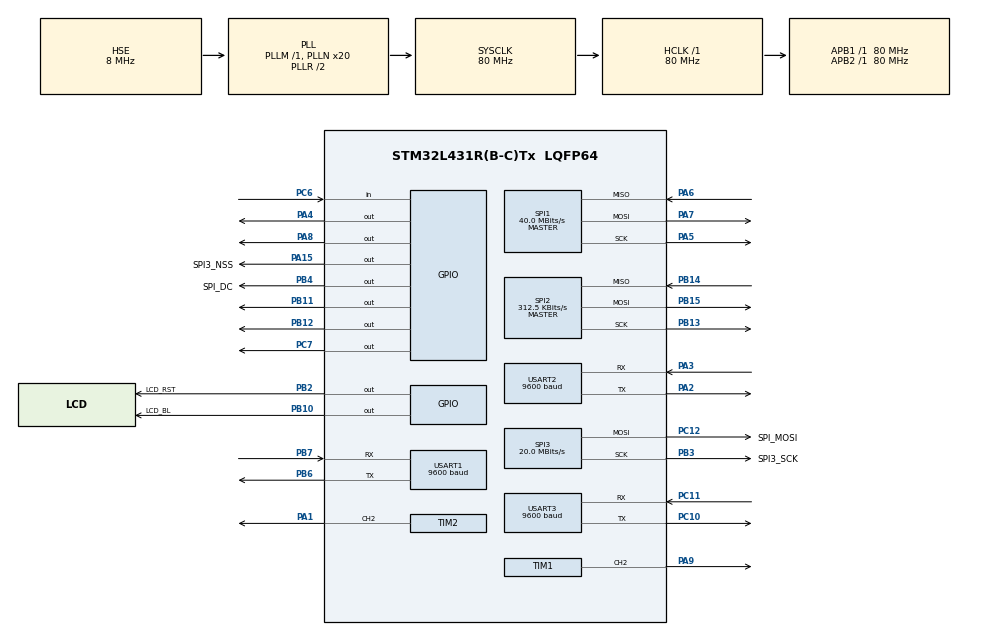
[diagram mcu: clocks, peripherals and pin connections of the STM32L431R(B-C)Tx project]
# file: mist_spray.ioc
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Dma.Request0=TIM1_CH2
Dma.TIM1_CH2.0.Direction=DMA_MEMORY_TO_PERIPH
Dma.TIM1_CH2.0.Instance=DMA1_Channel3
Dma.TIM1_CH2.0.MemDataAlignment=DMA_MDATAALIGN_HALFWORD
Dma.TIM1_CH2.0.MemInc=DMA_MINC_ENABLE
Dma.TIM1_CH2.0.Mode=DMA_NORMAL
Dma.TIM1_CH2.0.PeriphDataAlignment=DMA_PDATAALIGN_HALFWORD
Dma.TIM1_CH2.0.PeriphInc=DMA_PINC_DISABLE
Dma.TIM1_CH2.0.Priority=DMA_PRIORITY_LOW
FREERTOS.Tasks01=startTask,-2,256,StartDefaultTask,Default,NULL,Dynamic,NULL,NULL
FREERTOS.configTOTAL_HEAP_SIZE=24*1024
IWDG.Prescaler=IWDG_PRESCALER_32
IWDG.Reload=3000
IWDG.Window=3000
Mcu.Family=STM32L4
Mcu.Name=STM32L431R(B-C)Tx
Mcu.Package=LQFP64
NVIC.DMA1_Channel3_IRQn=true\:5\:0\:false\:false\:true\:true\:false\:true\:true
NVIC.PriorityGroup=NVIC_PRIORITYGROUP_4
NVIC.TIM1_TRG_COM_IRQn=true\:5\:0\:false\:false\:true\:true\:true\:true\:true
NVIC.TIM2_IRQn=true\:5\:0\:false\:false\:true\:true\:true\:true\:true
NVIC.TIM6_DAC_IRQn=true\:8\:0\:true\:false\:true\:true\:true\:true\:true
NVIC.TIM7_IRQn=true\:15\:0\:false\:false\:true\:false\:false\:true\:true
NVIC.TimeBase=TIM7_IRQn
NVIC.TimeBaseIP=TIM7
NVIC.USART1_IRQn=true\:5\:0\:true\:false\:false\:true\:true\:true\:true
NVIC.USART2_IRQn=true\:6\:0\:true\:false\:false\:true\:true\:true\:true
NVIC.USART3_IRQn=true\:7\:0\:true\:false\:false\:true\:true\:true\:true
PA1.Signal=S_TIM2_CH2
PA13\ (JTMS-SWDIO).Mode=Serial_Wire
PA13\ (JTMS-SWDIO).Signal=SYS_JTMS-SWDIO
PA14\ (JTCK-SWCLK).Mode=Serial_Wire
PA14\ (JTCK-SWCLK).Signal=SYS_JTCK-SWCLK
PA15\ (JTDI).GPIO_Label=SPI3_NSS
PA15\ (JTDI).GPIO_Speed=GPIO_SPEED_FREQ_VERY_HIGH
PA15\ (JTDI).Signal=GPIO_Output
PA2.GPIO_Speed=GPIO_SPEED_FREQ_VERY_HIGH
PA2.Mode=Asynchronous
PA2.Signal=USART2_TX
PA3.GPIO_PuPd=GPIO_PULLUP
PA3.GPIO_Speed=GPIO_SPEED_FREQ_VERY_HIGH
PA3.Mode=Asynchronous
PA3.Signal=USART2_RX
PA4.PinState=GPIO_PIN_SET
PA4.Signal=GPIO_Output
PA5.Mode=Full_Duplex_Master
PA5.Signal=SPI1_SCK
PA6.Mode=Full_Duplex_Master
PA6.Signal=SPI1_MISO
PA7.Mode=Full_Duplex_Master
PA7.Signal=SPI1_MOSI
PA8.GPIO_PuPd=GPIO_NOPULL
PA8.GPIO_Speed=GPIO_SPEED_FREQ_HIGH
PA8.PinState=GPIO_PIN_RESET
PA8.Signal=GPIO_Output
PA9.Signal=S_TIM1_CH2
PB10.GPIO_Label=LCD_BL
PB10.GPIO_Speed=GPIO_SPEED_FREQ_VERY_HIGH
PB10.PinState=GPIO_PIN_RESET
PB10.Signal=GPIO_Output
PB11.GPIO_Speed=GPIO_SPEED_FREQ_LOW
PB11.PinState=GPIO_PIN_SET
PB11.Signal=GPIO_Output
PB12.GPIO_Speed=GPIO_SPEED_FREQ_LOW
PB12.PinState=GPIO_PIN_SET
PB12.Signal=GPIO_Output
PB13.GPIO_Speed=GPIO_SPEED_FREQ_VERY_HIGH
PB13.Mode=Full_Duplex_Master
PB13.Signal=SPI2_SCK
PB14.GPIO_Speed=GPIO_SPEED_FREQ_VERY_HIGH
PB14.Mode=Full_Duplex_Master
PB14.Signal=SPI2_MISO
PB15.GPIO_Speed=GPIO_SPEED_FREQ_VERY_HIGH
PB15.Mode=Full_Duplex_Master
PB15.Signal=SPI2_MOSI
PB2.GPIO_Label=LCD_RST
PB2.GPIO_Speed=GPIO_SPEED_FREQ_VERY_HIGH
PB2.PinState=GPIO_PIN_RESET
PB2.Signal=GPIO_Output
PB3\ (JTDO-TRACESWO).GPIO_Label=SPI3_SCK
PB3\ (JTDO-TRACESWO).GPIO_Speed=GPIO_SPEED_FREQ_VERY_HIGH
PB3\ (JTDO-TRACESWO).Mode=TX_Only_Simplex_Unidirect_Master
PB3\ (JTDO-TRACESWO).Signal=SPI3_SCK
PB4\ (NJTRST).GPIO_Label=SPI_DC
PB4\ (NJTRST).GPIO_Speed=GPIO_SPEED_FREQ_VERY_HIGH
PB4\ (NJTRST).PinState=GPIO_PIN_RESET
PB4\ (NJTRST).Signal=GPIO_Output
PB6.GPIO_ModeDefaultPP=GPIO_MODE_AF_PP
PB6.GPIO_Speed=GPIO_SPEED_FREQ_VERY_HIGH
PB6.Mode=Asynchronous
PB6.Signal=USART1_TX
PB7.GPIO_PuPd=GPIO_PULLUP
PB7.GPIO_Speed=GPIO_SPEED_FREQ_VERY_HIGH
PB7.Mode=Asynchronous
PB7.Signal=USART1_RX
PC10.GPIO_Speed=GPIO_SPEED_FREQ_VERY_HIGH
PC10.Mode=Asynchronous
PC10.Signal=USART3_TX
PC11.GPIO_PuPd=GPIO_PULLUP
PC11.GPIO_Speed=GPIO_SPEED_FREQ_VERY_HIGH
PC11.Mode=Asynchronous
PC11.Signal=USART3_RX
PC12.GPIO_Label=SPI_MOSI
PC12.GPIO_Speed=GPIO_SPEED_FREQ_VERY_HIGH
PC12.Mode=TX_Only_Simplex_Unidirect_Master
PC12.Signal=SPI3_MOSI
PC14-OSC32_IN\ (PC14).Mode=LSE-External-Oscillator
PC14-OSC32_IN\ (PC14).Signal=RCC_OSC32_IN
PC15-OSC32_OUT\ (PC15).Mode=LSE-External-Oscillator
PC15-OSC32_OUT\ (PC15).Signal=RCC_OSC32_OUT
PC6.Signal=GPIO_Input
PC7.Signal=GPIO_Output
PH0-OSC_IN\ (PH0).Mode=HSE-External-Oscillator
PH0-OSC_IN\ (PH0).Signal=RCC_OSC_IN
PH1-OSC_OUT\ (PH1).Mode=HSE-External-Oscillator
PH1-OSC_OUT\ (PH1).Signal=RCC_OSC_OUT
ProjectManager.HeapSize=0x0d00
ProjectManager.StackSize=0x0e00
ProjectManager.TargetToolchain=MDK-ARM V5.32
RCC.ADCFreq_Value=32000000
RCC.AHBFreq_Value=80000000
RCC.APB1Freq_Value=80000000
RCC.APB1TimFreq_Value=80000000
RCC.APB2Freq_Value=80000000
RCC.APB2TimFreq_Value=80000000
RCC.CortexFreq_Value=80000000
RCC.HCLKFreq_Value=80000000
RCC.HSI48_VALUE=48000000
RCC.HSI_VALUE=16000000
RCC.MSI_VALUE=4000000
RCC.PLLN=20
RCC.PLLSourceVirtual=RCC_PLLSOURCE_HSE
RCC.RTCClockSelection=RCC_RTCCLKSOURCE_LSE
RCC.SYSCLKFreq_VALUE=80000000
RCC.SYSCLKSource=RCC_SYSCLKSOURCE_PLLCLK
RCC.VCOOutputFreq_Value=160000000
RTC.Date=8
RTC.Hours=8
RTC.Minutes=8
RTC.Month=RTC_MONTH_DECEMBER
RTC.WeekDay=RTC_WEEKDAY_THURSDAY
RTC.Year=22
SH.S_TIM1_CH2.0=TIM1_CH2,PWM Generation2 CH2
SH.S_TIM2_CH2.0=TIM2_CH2,PWM Generation2 CH2
SPI1.CalculateBaudRate=40.0 MBits/s
SPI1.DataSize=SPI_DATASIZE_8BIT
SPI1.Direction=SPI_DIRECTION_2LINES
SPI1.Mode=SPI_MODE_MASTER
SPI1.VirtualType=VM_MASTER
SPI2.BaudRatePrescaler=SPI_BAUDRATEPRESCALER_256
SPI2.CLKPhase=SPI_PHASE_1EDGE
SPI2.CalculateBaudRate=312.5 KBits/s
SPI2.DataSize=SPI_DATASIZE_8BIT
SPI2.Direction=SPI_DIRECTION_2LINES
SPI2.Mode=SPI_MODE_MASTER
SPI2.VirtualType=VM_MASTER
SPI3.BaudRatePrescaler=SPI_BAUDRATEPRESCALER_4
SPI3.CLKPhase=SPI_PHASE_2EDGE
SPI3.CLKPolarity=SPI_POLARITY_HIGH
SPI3.CalculateBaudRate=20.0 MBits/s
SPI3.DataSize=SPI_DATASIZE_8BIT
SPI3.Direction=SPI_DIRECTION_2LINES
SPI3.Mode=SPI_MODE_MASTER
SPI3.VirtualType=VM_MASTER
TIM1.AutoReloadPreload=TIM_AUTORELOAD_PRELOAD_DISABLE
TIM1.Channel-PWM\ Generation2\ CH2=TIM_CHANNEL_2
TIM1.Period=99
TIM1.Prescaler=0
TIM1.RepetitionCounter=0
TIM2.AutoReloadPreload=TIM_AUTORELOAD_PRELOAD_ENABLE
TIM2.Channel-PWM\ Generation2\ CH2=TIM_CHANNEL_2
TIM2.OCFastMode_PWM-PWM\ Generation2\ CH2=TIM_OCFAST_DISABLE
TIM2.Period=1000-1
TIM2.Prescaler=80-1
TIM2.Pulse-PWM\ Generation2\ CH2=600
TIM2.TIM_MasterSlaveMode=TIM_MASTERSLAVEMODE_DISABLE
TIM6.Period=10-1
TIM6.Prescaler=8000-1
USART1.BaudRate=9600
USART1.VirtualMode-Asynchronous=VM_ASYNC
USART2.BaudRate=9600
USART2.VirtualMode-Asynchronous=VM_ASYNC
USART3.BaudRate=9600
USART3.VirtualMode-Asynchronous=VM_ASYNC
VP_FREERTOS_VS_CMSIS_V1.Mode=CMSIS_V1
VP_IWDG_VS_IWDG.Mode=IWDG_Activate
VP_RTC_VS_RTC_Activate.Mode=RTC_Enabled
VP_RTC_VS_RTC_Calendar.Mode=RTC_Calendar
VP_SYS_VS_tim7.Mode=TIM7
VP_TIM1_VS_ClockSourceINT.Mode=Internal
VP_TIM2_VS_ClockSourceINT.Mode=Internal
VP_TIM6_VS_ClockSourceINT.Mode=Enable_Timer
board=custom

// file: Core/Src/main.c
/* USER CODE BEGIN Header */
/**
  ******************************************************************************
  * @file           : main.c
  * @brief          : Main program body
  ******************************************************************************
  * @attention
  *
  * Copyright (c) 2022 STMicroelectronics.
  * All rights reserved.
  *
  * This software is licensed under terms that can be found in the LICENSE file
  * in the root directory of this software component.
  * If no LICENSE file comes with this software, it is provided AS-IS.
  *
  ******************************************************************************
  */
/* USER CODE END Header */
#include "main.h"
#include "cmsis_os.h"
#include "dma.h"
#include "iwdg.h"
#include "rtc.h"
#include "spi.h"
#include "tim.h"
#include "usart.h"
#include "gpio.h"

/* USER CODE BEGIN Includes */
#include "rc522s.h"
#include "w25q64.h"
#include "BC260Y.h"
#include "lcd_init.h"
#include "lcd.h"
#include "lvgl.h"
#include "lv_conf.h"
#include "lv_port_disp.h"
#include "work.h"

/* USER CODE END Includes */

/* USER CODE BEGIN PTD */
RTC_DateTypeDef GetData;
RTC_TimeTypeDef GetTime;
/* USER CODE END PTD */

void SystemClock_Config(void);
void MX_FREERTOS_Init(void);

int main(void)
{

  /* MCU Configuration--------------------------------------------------------*/

  /* Reset of all peripherals, Initializes the Flash interface and the Systick. */
  HAL_Init();

  /* Configure the system clock */
  SystemClock_Config();

  /* Initialize all configured peripherals */
  MX_GPIO_Init();
  MX_DMA_Init();
  MX_RTC_Init();
  MX_TIM1_Init();
  MX_TIM2_Init();
  MX_TIM6_Init();
  MX_USART2_UART_Init();
  MX_USART3_UART_Init();
  MX_USART1_UART_Init();
  MX_SPI1_Init();
  MX_SPI2_Init();
  MX_SPI3_Init();
  MX_IWDG_Init();
  /* USER CODE BEGIN 2 */
	MFRC_Init();				//RC260初始化
	PCD_Reset();				//RC260复位
	BSP_W25Qx_Init();
	Flash_Data_Init();
  /* USER CODE END 2 */

  /* Call init function for freertos objects (in freertos.c) */
  MX_FREERTOS_Init();

  /* Start scheduler */
  osKernelStart();

  /* We should never get here as control is now taken by the scheduler */
  /* Infinite loop */
  while (1)
  {

  }
}

void SystemClock_Config(void)
{
  RCC_OscInitTypeDef RCC_OscInitStruct = {0};
  RCC_ClkInitTypeDef RCC_ClkInitStruct = {0};

  /** Configure the main internal regulator output voltage
  */
  if (HAL_PWREx_ControlVoltageScaling(PWR_REGULATOR_VOLTAGE_SCALE1) != HAL_OK)
  {
    Error_Handler();
  }

  /** Configure LSE Drive Capability
  */
  HAL_PWR_EnableBkUpAccess();
  __HAL_RCC_LSEDRIVE_CONFIG(RCC_LSEDRIVE_LOW);

  /** Initializes the RCC Oscillators according to the specified parameters
  * in the RCC_OscInitTypeDef structure.
  */
  RCC_OscInitStruct.OscillatorType = RCC_OSCILLATORTYPE_LSI|RCC_OSCILLATORTYPE_HSE
                              |RCC_OSCILLATORTYPE_LSE;
  RCC_OscInitStruct.HSEState = RCC_HSE_ON;
  RCC_OscInitStruct.LSEState = RCC_LSE_ON;
  RCC_OscInitStruct.LSIState = RCC_LSI_ON;
  RCC_OscInitStruct.PLL.PLLState = RCC_PLL_ON;
  RCC_OscInitStruct.PLL.PLLSource = RCC_PLLSOURCE_HSE;
  RCC_OscInitStruct.PLL.PLLM = 1;
  RCC_OscInitStruct.PLL.PLLN = 20;
  RCC_OscInitStruct.PLL.PLLP = RCC_PLLP_DIV7;
  RCC_OscInitStruct.PLL.PLLQ = RCC_PLLQ_DIV2;
  RCC_OscInitStruct.PLL.PLLR = RCC_PLLR_DIV2;
  if (HAL_RCC_OscConfig(&RCC_OscInitStruct) != HAL_OK)
  {
    Error_Handler();
  }

  /** Initializes the CPU, AHB and APB buses clocks
  */
  RCC_ClkInitStruct.ClockType = RCC_CLOCKTYPE_HCLK|RCC_CLOCKTYPE_SYSCLK
                              |RCC_CLOCKTYPE_PCLK1|RCC_CLOCKTYPE_PCLK2;
  RCC_ClkInitStruct.SYSCLKSource = RCC_SYSCLKSOURCE_PLLCLK;
  RCC_ClkInitStruct.AHBCLKDivider = RCC_SYSCLK_DIV1;
  RCC_ClkInitStruct.APB1CLKDivider = RCC_HCLK_DIV1;
  RCC_ClkInitStruct.APB2CLKDivider = RCC_HCLK_DIV1;

  if (HAL_RCC_ClockConfig(&RCC_ClkInitStruct, FLASH_LATENCY_4) != HAL_OK)
  {
    Error_Handler();
  }
}

/* USER CODE BEGIN 4 */
u16 Send_Timeout=0; //定时发送计时
u16 Send_timing_wakeup=0;
u16 readCard_delay=0;
u16 timer_500_ms=0;
u16 RGB_timer=0;
u16 GET_RTC_TIMEOUT=0;
/* USER CODE END 4 */

void HAL_TIM_PeriodElapsedCallback(TIM_HandleTypeDef *htim)
{
  if (htim->Instance == TIM7) {
    HAL_IncTick();
  }
  /* USER CODE BEGIN Callback 1 */
  if (htim->Instance == TIM6) {		//1ms
		timer_500_ms++;
    RGB_timer++;
    GET_RTC_TIMEOUT++;
    if(execute_work_flag==1)
			{
      execute_work_time++;
      if(execute_work_time>=5000)   //定时5秒
      {
        execute_work_flag=0;
      }
    }
		if(timer_500_ms>=500)
			{
				timer_500_ms=0;
				Send_Timeout++;
				Send_timing_wakeup++;
				if(Send_Timeout>=1800)
        {
          Send_Timeout=0;
        }
				if(Send_timing_wakeup>=100)
				{
					Send_timing_wakeup=0;
				}
				if(Pcd_Massage_Flag.Pcd_Read_Flag==0 && Pcd_Massage_Flag.Have_A_Card==PCD_OK) //读到卡才开始计数
				{
					readCard_delay++;
				}

			}
  }
	lv_tick_inc(1);
  /* USER CODE END Callback 1 */
}

void Error_Handler(void)
{
  __disable_irq();
  while (1)
  {
  }
}

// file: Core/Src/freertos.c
/* USER CODE BEGIN Header */
/**
  ******************************************************************************
  * File Name          : freertos.c
  * Description        : Code for freertos applications
  ******************************************************************************
  * @attention
  *
  * Copyright (c) 2022 STMicroelectronics.
  * All rights reserved.
  *
  * This software is licensed under terms that can be found in the LICENSE file
  * in the root directory of this software component.
  * If no LICENSE file comes with this software, it is provided AS-IS.
  *
  ******************************************************************************
  */
/* USER CODE END Header */

#include "FreeRTOS.h"
#include "task.h"
#include "main.h"
#include "cmsis_os.h"

/* USER CODE BEGIN Includes */
#include "string.h"
#include "tim.h"
#include "usart.h"
#include "stdio.h"
#include "rtc.h"
#include "iwdg.h"
#include "rc522s.h"
#include "w25q64.h"
#include "hx711.h"
#include "cJSON_user.h"
#include "lcd.h"
#include "lcd_init.h"
#include "ui.h"
#include "lvgl.h"
#include "lv_port_disp.h"
#include "BC260Y.h"
#include "work.h"
#include	"rgb.h"
/* USER CODE END Includes */

/* USER CODE BEGIN PTD */
extern u16 GET_RTC_TIMEOUT;
extern	RTC_DateTypeDef GetData;    //日期
extern	RTC_TimeTypeDef GetTime;    //时间
/* USER CODE END PTD */

osThreadId startTaskHandle;

/* USER CODE BEGIN FunctionPrototypes */
//互斥信号量句柄
SemaphoreHandle_t MutexSemaphore;
//二值信号量句柄
	SemaphoreHandle_t DMA_BinarySemaphore;

osThreadId BC260YTaskHandle;
osThreadId WorkTaskHandle;
osThreadId RC522STaskHandle;
osThreadId GUITaskHandle;

void BC260Y_task(void const * argument );
void work_task(void const * argument );
void RC522Stask(void const * argument);
void GUI_task(void const * argument);

/* USER CODE END FunctionPrototypes */

void StartDefaultTask(void const * argument);

void MX_FREERTOS_Init(void); /* (MISRA C 2004 rule 8.1) */

/* GetIdleTaskMemory prototype (linked to static allocation support) */
void vApplicationGetIdleTaskMemory( StaticTask_t **ppxIdleTaskTCBBuffer, StackType_t **ppxIdleTaskStackBuffer, uint32_t *pulIdleTaskStackSize );

/* USER CODE BEGIN GET_IDLE_TASK_MEMORY */
static StaticTask_t xIdleTaskTCBBuffer;
static StackType_t xIdleStack[configMINIMAL_STACK_SIZE];

void vApplicationGetIdleTaskMemory( StaticTask_t **ppxIdleTaskTCBBuffer, StackType_t **ppxIdleTaskStackBuffer, uint32_t *pulIdleTaskStackSize )
{
  *ppxIdleTaskTCBBuffer = &xIdleTaskTCBBuffer;
  *ppxIdleTaskStackBuffer = &xIdleStack[0];
  *pulIdleTaskStackSize = configMINIMAL_STACK_SIZE;
  /* place for user code */
}
/* USER CODE END GET_IDLE_TASK_MEMORY */

void MX_FREERTOS_Init(void) {
  /* USER CODE BEGIN Init */
		//创建互斥信号量
	MutexSemaphore=xSemaphoreCreateMutex();
	//创建二值信号量
	DMA_BinarySemaphore=xSemaphoreCreateBinary();

  /* USER CODE END Init */

  /* Create the thread(s) */
  /* definition and creation of startTask */
  osThreadDef(startTask, StartDefaultTask, osPriorityLow, 0, 256);
  startTaskHandle = osThreadCreate(osThread(startTask), NULL);

  /* USER CODE BEGIN RTOS_THREADS */
  /* add threads, ... */
    osThreadDef( WorkTask, work_task, osPriorityBelowNormal, 0, 256);
   WorkTaskHandle = osThreadCreate(osThread( WorkTask), NULL);

	  osThreadDef(RC522STask, RC522Stask, osPriorityNormal, 0, 256);
  RC522STaskHandle = osThreadCreate(osThread(RC522STask), NULL);

	  osThreadDef( BC260YTask, BC260Y_task, osPriorityHigh, 0, 1024);
   BC260YTaskHandle = osThreadCreate(osThread( BC260YTask), NULL);

	 osThreadDef( GUITask, GUI_task, osPriorityAboveNormal, 0, 3*1024);
   GUITaskHandle = osThreadCreate(osThread( GUITask), NULL);

  /* USER CODE END RTOS_THREADS */

}

void StartDefaultTask(void const * argument)
{
  /* USER CODE BEGIN StartDefaultTask */
  /* Infinite loop */
  //uint16_t num_data;
  //uint8_t i=0,j=0;
  //num_data = RESET_PULSE + 10 * 24;
	ws2812_init(10);// 所有RGB小灯的初始化   --- 10个
 // ws2812_red(10);
 u8 ret=0;
  for(;;)
  {
		Uart_task();
    if( execute_work_flag==1 &&ret==0)
    {
        Motor_Working(3);
        ret=1;
    }
    else if(execute_work_flag==0 && work_time.working_flag!=2 && ret==1)  //只有在没有工作任务工作时才可关闭
    {
      ret=0;
      Motor_Working(0);
    }
    if( GET_RTC_TIMEOUT>=100)
    {
      HAL_RTC_GetTime(&hrtc, &GetTime, RTC_FORMAT_BIN);	//获取时间
			HAL_RTC_GetDate(&hrtc, &GetData, RTC_FORMAT_BIN);	//获取日期
      GET_RTC_TIMEOUT=0;
    }
    if(BC260_Massage.BC260Y_CONNECT_FLAG==0)
    {
      if(RGB_timer<=500)
      {
        ws2812_red(10);
      }
      else if (RGB_timer>500 && RGB_timer<1000){
        ws2812_init(10);
      }
    }
    else{
        if(Pcd_Massage_Flag.Have_A_Card==PCD_NOTAGERR)
        {
          if(RGB_timer<=500)
          {
            ws2812_red(10);
          }
          else if (RGB_timer>500 && RGB_timer<1000){
            ws2812_green(10);
          }
        }
        else
        {
          ws2812_green(10);
        }
    }
     if(RGB_timer>1000){
        RGB_timer=0;
      }

//    MQTT_Receive_Data();
		HAL_IWDG_Refresh(&hiwdg);
		osDelay(10);
  }
  /* USER CODE END StartDefaultTask */
}
